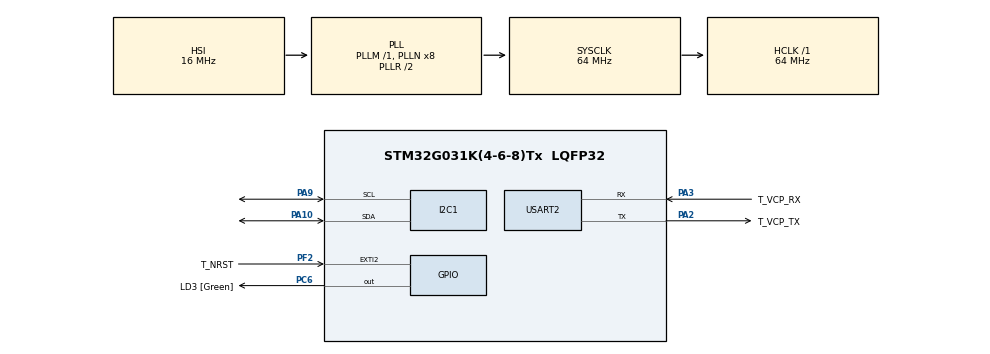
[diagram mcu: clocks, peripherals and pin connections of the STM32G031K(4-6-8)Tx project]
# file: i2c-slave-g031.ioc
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I2C1.NoStretchMode=I2C_NOSTRETCH_DISABLE
I2C1.OwnAddress=0x20
I2C1.Timing=0x10707DBC
Mcu.Family=STM32G0
Mcu.Name=STM32G031K(4-6-8)Tx
Mcu.Package=LQFP32
NVIC.I2C1_IRQn=true\:0\:0\:false\:false\:true\:true\:true
PA10.Mode=I2C
PA10.Signal=I2C1_SDA
PA13.GPIO_Label=T_JTMS
PA13.Mode=Serial_Wire
PA13.Signal=SYS_SWDIO
PA14-BOOT0.GPIO_Label=T_JTCK
PA14-BOOT0.Mode=Serial_Wire
PA14-BOOT0.Signal=SYS_SWCLK
PA2.GPIO_Label=T_VCP_TX
PA2.GPIO_PuPd=GPIO_PULLUP
PA2.Mode=Asynchronous
PA2.Signal=USART2_TX
PA3.GPIO_Label=T_VCP_RX
PA3.GPIO_PuPd=GPIO_PULLUP
PA3.Mode=Asynchronous
PA3.Signal=USART2_RX
PA9.Mode=I2C
PA9.Signal=I2C1_SCL
PC14-OSC32_IN\ (PC14).Mode=LSE-External-Oscillator
PC14-OSC32_IN\ (PC14).Signal=RCC_OSC32_IN
PC15-OSC32_OUT\ (PC15).Mode=LSE-External-Oscillator
PC15-OSC32_OUT\ (PC15).Signal=RCC_OSC32_OUT
PC6.GPIO_Label=LD3 [Green]
PC6.Signal=GPIO_Output
PF2\ -\ NRST.GPIO_Label=T_NRST
PF2\ -\ NRST.Signal=GPXTI2
ProjectManager.HeapSize=0x200
ProjectManager.StackSize=0x400
ProjectManager.TargetToolchain=MDK-ARM V5.27
RCC.ADCFreq_Value=64000000
RCC.AHBFreq_Value=64000000
RCC.CortexFreq_Value=64000000
RCC.EXTERNAL_CLOCK_VALUE=12288000
RCC.HCLKFreq_Value=64000000
RCC.HSE_VALUE=8000000
RCC.HSI_VALUE=16000000
RCC.SYSCLKFreq_VALUE=64000000
RCC.SYSCLKSource=RCC_SYSCLKSOURCE_PLLCLK
RCC.VCOOutputFreq_Value=128000000
USART2.VirtualMode-Asynchronous=VM_ASYNC
USART2.WordLength=WORDLENGTH_7B
board=NUCLEO-G031K8

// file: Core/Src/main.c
/* USER CODE BEGIN Header */
/**
  ******************************************************************************
  * @file           : main.c
  * @brief          : Main program body
  ******************************************************************************
  * @attention
  *
  * <h2><center>&copy; Copyright (c) 2022 STMicroelectronics.
  * All rights reserved.</center></h2>
  *
  * This software component is licensed by ST under BSD 3-Clause license,
  * the "License"; You may not use this file except in compliance with the
  * License. You may obtain a copy of the License at:
  *                        opensource.org/licenses/BSD-3-Clause
  *
  ******************************************************************************
  */
/* USER CODE END Header */
#include "main.h"

/* USER CODE BEGIN Includes */
#include "string.h"
#include "stdio.h"
/* USER CODE END Includes */

/* USER CODE BEGIN PD */
#define COUNTOF(__BUFFER__)   (sizeof(__BUFFER__) / sizeof(*(__BUFFER__)))
#define TXBUFFERSIZE					(COUNTOF(aTxBuffer) - 1)	// Size of Transmission buffer
#define RXBUFFERSIZE					TXBUFFERSIZE							// Size of Reception buffer
/* USER CODE END PD */

I2C_HandleTypeDef hi2c1;

UART_HandleTypeDef huart2;

/* USER CODE BEGIN PV */
uint8_t aTxBuffer[] = "hii"; 						// Buffer for sending data to master
uint8_t aRxBuffer[RXBUFFERSIZE];				// Buffer for receiving data from master
_Bool flagTransmit;
_Bool flagReceive;

/* USER CODE END PV */

void SystemClock_Config(void);
static void MX_GPIO_Init(void);
static void MX_I2C1_Init(void);
static void MX_USART2_UART_Init(void);
/* USER CODE BEGIN PFP */
static uint16_t Buffercmp(uint8_t* pBuffer1, uint8_t* pBuffer2, uint16_t BufferLength);
void LED_TOGGLE();
/* USER CODE END PFP */

int main(void)
{

  /* MCU Configuration--------------------------------------------------------*/

  /* Reset of all peripherals, Initializes the Flash interface and the Systick. */
  HAL_Init();

  /* Configure the system clock */
  SystemClock_Config();

  /* USER CODE BEGIN SysInit */
	flagReceive = 0;
	flagTransmit = 0;
  /* USER CODE END SysInit */

  /* Initialize all configured peripherals */
  MX_GPIO_Init();
  MX_I2C1_Init();
  MX_USART2_UART_Init();
  /* USER CODE BEGIN 2 */

	// Slave receive transmission process from master
	if (HAL_I2C_Slave_Receive_IT(&hi2c1, (uint8_t*)aRxBuffer, RXBUFFERSIZE) != HAL_OK)
	{
		// Initialization Error
    Error_Handler();
	}

	// Waiting the end of the data transfer process before starting new transfer
	while (HAL_I2C_GetState(&hi2c1) != HAL_I2C_STATE_READY){}

	/*
	 * Transmisson Process
	 * While the I2C in reception process, user can transmit data through "aTxBuffer" buffer
	*/
	if (HAL_I2C_Slave_Transmit_IT(&hi2c1, (uint8_t*)aTxBuffer, TXBUFFERSIZE) != HAL_OK)
	{
		// Initialization Error
    Error_Handler();
	}

	// Waiting the end of the data transfer process before starting new transfer
	while (HAL_I2C_GetState(&hi2c1) != HAL_I2C_STATE_READY){}

  // Compare the sent and received buffers
  if(Buffercmp((uint8_t*)aTxBuffer,(uint8_t*)aRxBuffer,RXBUFFERSIZE))
  {
    // Processing Error
    Error_Handler();
  }
  /* USER CODE END 2 */

  /* Infinite loop */
  while (1)
  {

  }
}

void SystemClock_Config(void)
{
  RCC_OscInitTypeDef RCC_OscInitStruct = {0};
  RCC_ClkInitTypeDef RCC_ClkInitStruct = {0};
  RCC_PeriphCLKInitTypeDef PeriphClkInit = {0};

  /** Configure the main internal regulator output voltage
  */
  HAL_PWREx_ControlVoltageScaling(PWR_REGULATOR_VOLTAGE_SCALE1);
  /** Initializes the RCC Oscillators according to the specified parameters
  * in the RCC_OscInitTypeDef structure.
  */
  RCC_OscInitStruct.OscillatorType = RCC_OSCILLATORTYPE_HSI;
  RCC_OscInitStruct.HSIState = RCC_HSI_ON;
  RCC_OscInitStruct.HSIDiv = RCC_HSI_DIV1;
  RCC_OscInitStruct.HSICalibrationValue = RCC_HSICALIBRATION_DEFAULT;
  RCC_OscInitStruct.PLL.PLLState = RCC_PLL_ON;
  RCC_OscInitStruct.PLL.PLLSource = RCC_PLLSOURCE_HSI;
  RCC_OscInitStruct.PLL.PLLM = RCC_PLLM_DIV1;
  RCC_OscInitStruct.PLL.PLLN = 8;
  RCC_OscInitStruct.PLL.PLLP = RCC_PLLP_DIV2;
  RCC_OscInitStruct.PLL.PLLQ = RCC_PLLQ_DIV2;
  RCC_OscInitStruct.PLL.PLLR = RCC_PLLR_DIV2;
  if (HAL_RCC_OscConfig(&RCC_OscInitStruct) != HAL_OK)
  {
    Error_Handler();
  }
  /** Initializes the CPU, AHB and APB buses clocks
  */
  RCC_ClkInitStruct.ClockType = RCC_CLOCKTYPE_HCLK|RCC_CLOCKTYPE_SYSCLK
                              |RCC_CLOCKTYPE_PCLK1;
  RCC_ClkInitStruct.SYSCLKSource = RCC_SYSCLKSOURCE_PLLCLK;
  RCC_ClkInitStruct.AHBCLKDivider = RCC_SYSCLK_DIV1;
  RCC_ClkInitStruct.APB1CLKDivider = RCC_HCLK_DIV1;

  if (HAL_RCC_ClockConfig(&RCC_ClkInitStruct, FLASH_LATENCY_2) != HAL_OK)
  {
    Error_Handler();
  }
  /** Initializes the peripherals clocks
  */
  PeriphClkInit.PeriphClockSelection = RCC_PERIPHCLK_I2C1;
  PeriphClkInit.I2c1ClockSelection = RCC_I2C1CLKSOURCE_PCLK1;
  if (HAL_RCCEx_PeriphCLKConfig(&PeriphClkInit) != HAL_OK)
  {
    Error_Handler();
  }
}

static void MX_I2C1_Init(void)
{

  hi2c1.Instance = I2C1;
  hi2c1.Init.Timing = 0x10707DBC;
  hi2c1.Init.OwnAddress1 = 64;
  hi2c1.Init.AddressingMode = I2C_ADDRESSINGMODE_7BIT;
  hi2c1.Init.DualAddressMode = I2C_DUALADDRESS_DISABLE;
  hi2c1.Init.OwnAddress2 = 0;
  hi2c1.Init.OwnAddress2Masks = I2C_OA2_NOMASK;
  hi2c1.Init.GeneralCallMode = I2C_GENERALCALL_DISABLE;
  hi2c1.Init.NoStretchMode = I2C_NOSTRETCH_DISABLE;
  if (HAL_I2C_Init(&hi2c1) != HAL_OK)
  {
    Error_Handler();
  }
  /** Configure Analogue filter
  */
  if (HAL_I2CEx_ConfigAnalogFilter(&hi2c1, I2C_ANALOGFILTER_ENABLE) != HAL_OK)
  {
    Error_Handler();
  }
  /** Configure Digital filter
  */
  if (HAL_I2CEx_ConfigDigitalFilter(&hi2c1, 0) != HAL_OK)
  {
    Error_Handler();
  }

}

static void MX_USART2_UART_Init(void)
{

  huart2.Instance = USART2;
  huart2.Init.BaudRate = 115200;
  huart2.Init.WordLength = UART_WORDLENGTH_7B;
  huart2.Init.StopBits = UART_STOPBITS_1;
  huart2.Init.Parity = UART_PARITY_NONE;
  huart2.Init.Mode = UART_MODE_TX_RX;
  huart2.Init.HwFlowCtl = UART_HWCONTROL_NONE;
  huart2.Init.OverSampling = UART_OVERSAMPLING_16;
  huart2.Init.OneBitSampling = UART_ONE_BIT_SAMPLE_DISABLE;
  huart2.Init.ClockPrescaler = UART_PRESCALER_DIV1;
  huart2.AdvancedInit.AdvFeatureInit = UART_ADVFEATURE_NO_INIT;
  if (HAL_UART_Init(&huart2) != HAL_OK)
  {
    Error_Handler();
  }

}

static void MX_GPIO_Init(void)
{
  GPIO_InitTypeDef GPIO_InitStruct = {0};

  /* GPIO Ports Clock Enable */
  __HAL_RCC_GPIOC_CLK_ENABLE();
  __HAL_RCC_GPIOF_CLK_ENABLE();
  __HAL_RCC_GPIOA_CLK_ENABLE();

  /*Configure GPIO pin Output Level */
  HAL_GPIO_WritePin(LD3_GPIO_Port, LD3_Pin, GPIO_PIN_RESET);

  /*Configure GPIO pin : T_NRST_Pin */
  GPIO_InitStruct.Pin = T_NRST_Pin;
  GPIO_InitStruct.Mode = GPIO_MODE_IT_RISING;
  GPIO_InitStruct.Pull = GPIO_NOPULL;
  HAL_GPIO_Init(T_NRST_GPIO_Port, &GPIO_InitStruct);

  /*Configure GPIO pin : LD3_Pin */
  GPIO_InitStruct.Pin = LD3_Pin;
  GPIO_InitStruct.Mode = GPIO_MODE_OUTPUT_PP;
  GPIO_InitStruct.Pull = GPIO_NOPULL;
  GPIO_InitStruct.Speed = GPIO_SPEED_FREQ_LOW;
  HAL_GPIO_Init(LD3_GPIO_Port, &GPIO_InitStruct);

}

/* USER CODE BEGIN 4 */
void LED_TOGGLE()
{
	HAL_GPIO_TogglePin(GPIOC, GPIO_PIN_6);
}

// Tx transfer completed callback
void HAL_I2C_SlaveTxCpltCallback(I2C_HandleTypeDef *hi2c)
{
	flagTransmit = 1;
	LED_TOGGLE();
}

// Rx transfer completed callback
void HAL_I2C_SlaveRxCpltCallback(I2C_HandleTypeDef *hi2c)
{
	flagReceive = 1;
	LED_TOGGLE();
}

void HAL_I2C_ErrorCallback(I2C_HandleTypeDef *I2cHandle)
{
  /*
		Error_Handler() function is called when error occurs.
    - 1. When Slave don't acknowledge it's address, Master restarts communication.
    - 2. When Master don't acknowledge the last data transferred, Slave don't care in this example.
  */
  if (HAL_I2C_GetError(I2cHandle) != HAL_I2C_ERROR_AF)
  {
    Error_Handler();
  }
}

/**
  * @brief  Compares two buffers.
  * @param  pBuffer1, pBuffer2: buffers to be compared.
  * @param  BufferLength: buffer's length
  * @retval 0  : pBuffer1 identical to pBuffer2
  *         >0 : pBuffer1 differs from pBuffer2
  */
static uint16_t Buffercmp(uint8_t *pBuffer1, uint8_t *pBuffer2, uint16_t BufferLength)
{
  while (BufferLength--)
  {
    if ((*pBuffer1) != *pBuffer2)
    {
      return BufferLength;
    }
    pBuffer1++;
    pBuffer2++;
  }

  return 0;
}

/* USER CODE END 4 */

void Error_Handler(void)
{
  /* USER CODE BEGIN Error_Handler_Debug */
  /* User can add his own implementation to report the HAL error return state */
  //__disable_irq();
  while (1)
  {
		LED_TOGGLE();
		HAL_Delay(1000);
  }
  /* USER CODE END Error_Handler_Debug */
}

/************************ (C) COPYRIGHT STMicroelectronics *****END OF FILE****/
